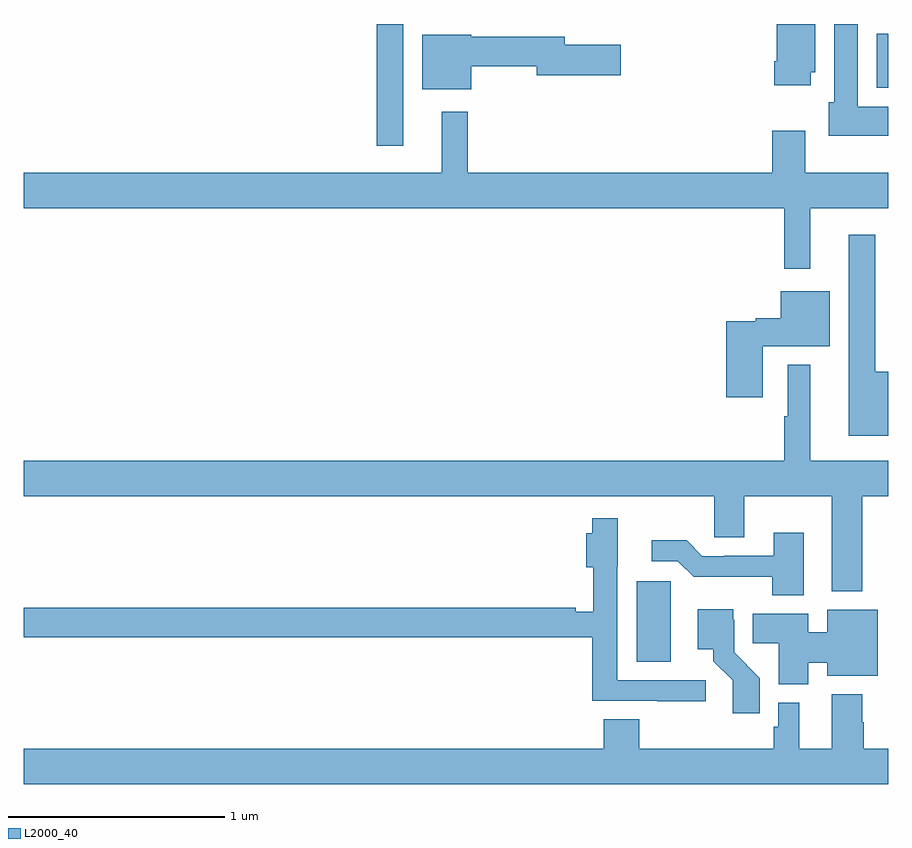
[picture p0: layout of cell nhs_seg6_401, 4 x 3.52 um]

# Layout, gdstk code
import gdstk
lib = gdstk.Library(unit=1e-6, precision=1e-09)
def R(c, l, rs):  # rectangles x0, y0, x1, y1
    for r in rs: c.add(gdstk.rectangle(r[:2], r[2:], *l))
def P(c, l, *ps):  # polygons
    for p in ps: c.add(gdstk.Polygon(p, *l))
L2000_40 = (2000, 40)

nhs_seg6_401 = lib.new_cell('nhs_seg6_401')
R(nhs_seg6_401, L2000_40, [(135.836,966.55,135.994,966.921), (134.634,968.937,134.755,969.5), (136.947,969.206,137,969.456)])
P(nhs_seg6_401, L2000_40, [(136.642,969.276),(136.663,969.276),(136.663,969.5),(136.484,969.5),(136.484,969.328),(136.472,969.328),(136.472,969.216),(136.642,969.216)],
  [(137,969.118),(136.858,969.118),(136.858,969.5),(136.751,969.5),(136.751,969.138),(136.724,969.138),(136.724,968.984),(137,968.984)],
  [(135.07,969.304),(135.374,969.304),(135.374,969.262),(135.763,969.262),(135.763,969.404),(135.502,969.404),(135.502,969.44),(135.07,969.44),(135.07,969.451),(134.843,969.451),(134.843,969.197),(135.07,969.197)],
  [(136.639,968.648),(137,968.648),(137,968.812),(136.615,968.812),(136.615,969.007),(136.463,969.007),(136.463,968.812),(135.055,968.812),(135.055,969.094),(134.933,969.094),(134.933,968.812),(133,968.812),(133,968.648),(136.518,968.648),(136.518,968.367),(136.639,968.367)],
  [(137,967.891),(136.939,967.891),(136.939,968.524),(136.817,968.524),(136.817,967.595),(137,967.595)],
  [(136.42,968.009),(136.729,968.009),(136.729,968.263),(136.502,968.263),(136.502,968.138),(136.386,968.138),(136.386,968.125),(136.25,968.125),(136.25,967.773),(136.42,967.773)],
  [(136.879,967.316),(137,967.316),(137,967.48),(136.639,967.48),(136.639,967.924),(136.535,967.924),(136.535,967.685),(136.518,967.685),(136.518,967.48),(133,967.48),(133,967.316),(136.194,967.316),(136.194,967.126),(136.333,967.126),(136.333,967.316),(136.739,967.316),(136.739,966.875),(136.879,966.875)],
  [(136.156,966.465),(135.747,966.465),(135.747,966.99),(135.748,966.99),(135.748,967.213),(135.631,967.213),(135.631,967.144),(135.602,967.144),(135.602,966.986),(135.635,966.986),(135.635,966.782),(135.554,966.782),(135.554,966.8),(133,966.8),(133,966.664),(135.631,966.664),(135.631,966.369),(135.931,966.369),(135.931,966.367),(136.156,966.367)],
  [(136.609,967.147),(136.469,967.147),(136.469,967.041),(136.24,967.041),(136.24,967.038),(136.14,967.038),(136.067,967.111),(135.906,967.111),(135.906,967.014),(136.026,967.014),(136.099,966.942),(136.462,966.942),(136.462,966.857),(136.609,966.857)],
  [(136.406,966.474),(136.287,966.593),(136.287,966.744),(136.282,966.744),(136.282,966.793),(136.118,966.793),(136.118,966.608),(136.19,966.608),(136.19,966.553),(136.281,966.463),(136.281,966.312),(136.406,966.312)],
  [(136.63,966.544),(136.718,966.544),(136.718,966.485),(136.951,966.485),(136.951,966.79),(136.718,966.79),(136.718,966.686),(136.63,966.686),(136.63,966.772),(136.372,966.772),(136.372,966.634),(136.493,966.634),(136.493,966.446),(136.63,966.446)],
  [(137,966.148),(136.887,966.148),(136.887,966.269),(136.879,966.269),(136.879,966.4),(136.739,966.4),(136.739,966.148),(136.588,966.148),(136.588,966.361),(136.491,966.361),(136.491,966.249),(136.471,966.249),(136.471,966.148),(135.848,966.148),(135.848,966.284),(135.683,966.284),(135.683,966.148),(133,966.148),(133,965.984),(137,965.984)])

lib.write_gds('nhs_seg6_401.gds')
